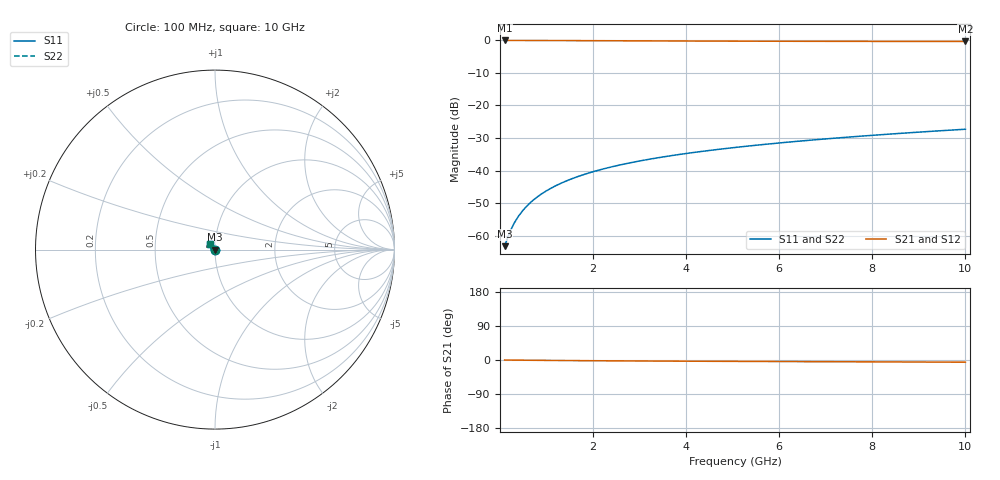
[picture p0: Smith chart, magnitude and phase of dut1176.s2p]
! Touchstone file exported from HFSS 2024.1.0
!  File:  C:/UserFiles/LocalFiles/RDL_TSV_Batchsim/temp_TSV1_1176_1780074255.aedt
!  Generated:  01:16:34 AM May 30, 2026
!  Design:  TSV1
!  Project:  temp_TSV1_1176_1780074255
!  Setup:  Setup1
!  Solution:  Sweep
! Variables:
!  dtsv = 5.4um
!  hbump = 3um
!  htsv = 82.5um
!  lrdl = 252.1521522um
!  p = 40
!  p1 = 54.93um
!  t = 500um
!  trdl = 3um
!  wrdl = 24.89489489um
# GHz S MA R 50.000000
! Terminal data exported
! Port[1] = TSV22_T1
! Port[2] = TSV22_T2
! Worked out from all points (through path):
!   100 points, 100 MHz to 10 GHz, reference 50 ohm
!   highest |S21| = 0.00 dB at 100 MHz (marker M1); lowest = -0.3 dB at 10 GHz (marker M2)
!   lowest |S11| = -63.3 dB at 100 MHz (marker M3), VSWR 1.00, Z = 50 - j0.0507 ohm
!   |S11| at or under -10 dB: start of sweep to end of sweep
!   |S22| runs from -63.3 to -27.3 dB; largest |S21 - S12| = 4.2e-15
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0.1  0.0006874 -47.4  0.9995 -0.1  0.9995 -0.1  0.0006874 -47.4
! Gamma 0 0 0 0
! Port Impedance 50 0 50 0
0.2  0.001083 -68.8  0.9994 -0.2  0.9994 -0.2  0.001083 -68.8
0.3  0.001531 -79.8  0.9993 -0.3  0.9993 -0.3  0.001531 -79.8
0.4  0.001998 -87.1  0.9991 -0.4  0.9991 -0.4  0.001998 -87.1
0.5  0.002474 -92.5  0.9989 -0.5  0.9989 -0.5  0.002474 -92.6
0.6  0.002955 -97.1  0.9986 -0.6  0.9986 -0.6  0.002955 -97.1
0.7  0.003437 -101.1  0.9983 -0.7  0.9983 -0.7  0.003437 -101.1
0.9  0.004403 -108.1  0.9976 -0.9  0.9976 -0.9  0.004403 -108.1
1  0.004886 -111.3  0.9971 -1.0  0.9971 -1.0  0.004886 -111.3
1.2  0.005845 -117.2  0.9962 -1.2  0.9962 -1.2  0.005845 -117.2
1.5  0.007267 -125.4  0.9947 -1.5  0.9947 -1.5  0.007267 -125.4
1.8  0.008666 -133.0  0.9929 -1.7  0.9929 -1.7  0.008666 -133.0
2.1  0.01004 -140.1  0.9911 -2.0  0.9911 -2.0  0.01004 -140.1
2.5  0.01183 -148.8  0.9886 -2.3  0.9886 -2.3  0.01183 -148.8
2.9  0.01359 -156.8  0.9861 -2.5  0.9861 -2.5  0.01359 -156.8
3.4  0.01574 -165.9  0.9832 -2.8  0.9832 -2.8  0.01574 -165.9
4.2  0.0191 -178.4  0.979 -3.2  0.979 -3.2  0.0191 -178.4
5.1  0.02283 170.0  0.975 -3.7  0.975 -3.7  0.02283 170.0
5.9  0.02612 161.4  0.9722 -4.0  0.9722 -4.0  0.02612 161.4
6.7  0.0294 154.2  0.9699 -4.4  0.9699 -4.4  0.0294 154.2
8.4  0.03644 142.1  0.9661 -5.1  0.9661 -5.1  0.03644 142.1
10  0.04315 133.6  0.9635 -5.8  0.9635 -5.8  0.04315 133.6
